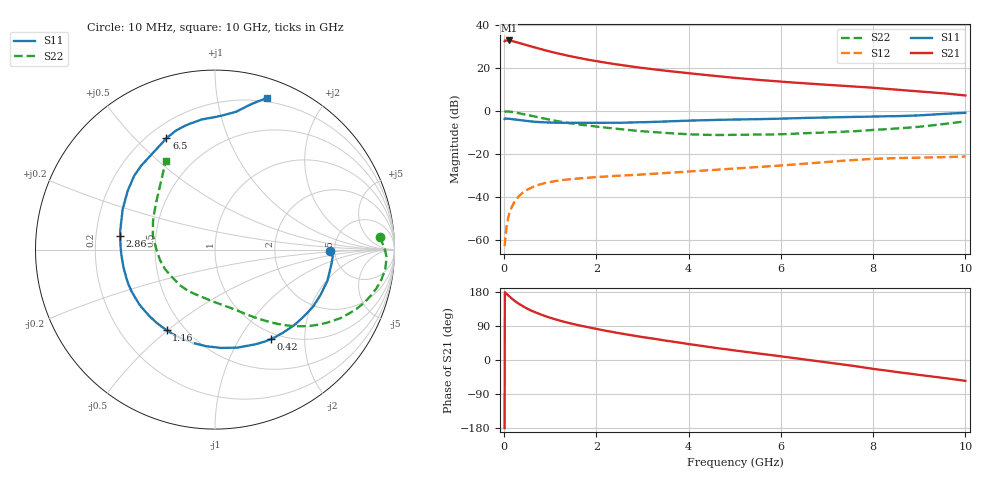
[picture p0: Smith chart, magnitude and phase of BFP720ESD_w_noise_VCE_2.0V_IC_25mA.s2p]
! Infineon Technologies  Discrete & RF Semiconductors
! BFP720ESD
! VCE =  2.0 V,  IC =  25 mA
! Common Emitter S-Parameters:  Jan 2016
# GHz  S  MA  R  50
!  f  S11  S21  S12  S22
! GHz  MAG  ANG  MAG  ANG  MAG  ANG  MAG  ANG
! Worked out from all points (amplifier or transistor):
!   233 points, 10 MHz to 10 GHz, reference 50 ohm
!   highest |S21| = 32.7 dB at 100 MHz (marker M1)
!   |S21| within 3 dB of that: start of sweep to 621.3 MHz
!   unconditionally stable (mu >= 1): start of sweep to 13.42 MHz; 3.263 GHz to 6.952 GHz
!   at 200 MHz: K = 0.22, MSG = 37.8 dB, |S12| = -43.3 dB
!   at 1.74 GHz: K = 0.67, MSG = 27.7 dB, |S12| = -31.4 dB
!   at 10 GHz: K = 0.64, MSG = 14.2 dB, |S12| = -21.4 dB
!   lowest NFmin = 1.07 dB at 450 MHz
!   S11 on the Smith chart (normalised r, x): 10 MHz: 4.57, -0.16; 420 MHz: 0.91, -1.38; 1.16 GHz: 0.40, -0.49; 2.86 GHz: 0.31, +0.06; 6.5 GHz: 0.27, +0.62; 10 GHz: 0.17, +1.38
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0.01  0.6411 -0.9  41.46 -179.8  0.0007 131.0  0.9222 4.4
0.02  0.6573 -3.3  42.93 177.9  0.0009 92.1  0.9462 0.1
0.1  0.65 -15.6  43.09 169.3  0.0036 80.3  0.9547 -6.6
0.195  0.6325 -29.5  41.11 159.3  0.0066 75.0  0.9259 -13.3
0.26  0.6172 -38.2  39.41 153.2  0.0085 71.6  0.9001 -17.1
0.34  0.6013 -48.5  37.3 146.6  0.0107 67.8  0.8649 -21.5
0.42  0.5876 -57.9  35.22 140.8  0.0127 64.2  0.8292 -25.3
0.6  0.5604 -76.9  30.98 129.6  0.0163 57.3  0.7515 -32.6
0.8  0.5404 -95.2  26.88 119.7  0.0195 51.2  0.6759 -39.0
1  0.5289 -110.5  23.71 111.3  0.0219 46.4  0.6113 -44.2
1.16  0.5233 -121.0  21.56 105.5  0.0233 43.6  0.568 -47.6
1.4  0.5203 -134.7  18.83 97.7  0.0251 40.3  0.5142 -52.2
1.68  0.5193 -147.7  16.39 89.9  0.0267 37.8  0.4676 -56.5
2.2  0.5193 -167.7  13.08 77.2  0.0293 35.0  0.4031 -63.8
2.86  0.5332 171.9  10.31 63.3  0.0321 33.7  0.3412 -74.0
3.4  0.5551 158.7  8.752 53.2  0.0347 33.6  0.3084 -83.6
4.5  0.6092 137.8  6.551 33.1  0.0415 32.5  0.2721 -110.4
5.1  0.6243 130.1  5.681 23.6  0.0456 31.4  0.2744 -124.9
6.5  0.6768 113.6  4.346 1.7  0.058 27.0  0.2985 -158.3
6.8  0.6884 110.4  4.133 -2.9  0.0614 25.4  0.305 -164.8
8.4  0.7398 89.5  3.146 -29.9  0.0779 10.3  0.3776 156.2
10  0.8921 71.2  2.255 -55.1  0.0853 -3.2  0.5631 119.2
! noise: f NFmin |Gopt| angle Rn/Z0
0.45  1.07  0.02  -141  0.18
0.9  1.1  0.05  -148  0.12
1.9  1.13  0.08  -133  0.15
2.4  1.13  0.1  -124  0.13
5.5  1.29  0.28  -102  0.15
10  1.68  0.53  -84  0.53
